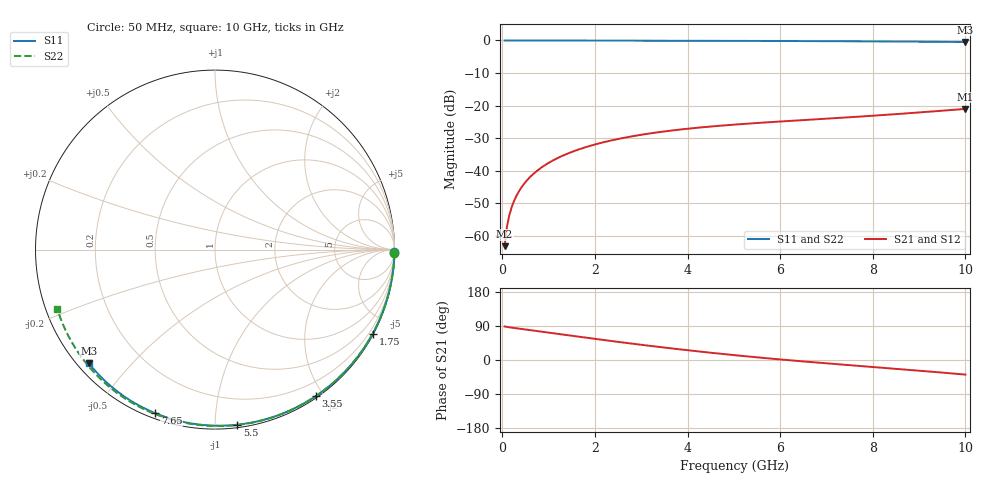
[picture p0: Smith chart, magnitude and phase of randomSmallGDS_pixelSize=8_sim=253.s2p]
! freq	dB(S11)	phase(S11)	dB(S12)	phase(S12)
!  dB(S21)	phase(S21)	dB(S22)	phase(S22)
!S-par simulation data
#  GHz  S  DB  R 50
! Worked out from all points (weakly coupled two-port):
!   200 points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, 50 MHz to 10 GHz, reference 50 ohm
!   highest |S21| = -21.04 dB at 10 GHz (marker M1); lowest = -63.2 dB at 50 MHz (marker M2)
!   lowest |S11| = -0.5 dB at 10 GHz (marker M3), VSWR 35.89, Z = 1.6 - j19.2 ohm
!   |S11| at or under -10 dB: nowhere
!   |S22| runs from -0.6 to 0.0 dB; largest |S21 - S12| = 0
!   S11 on the Smith chart (normalised r, x): 50 MHz: open; 1.75 GHz: 0.04, -4.01; 3.55 GHz: 0.02, -1.91; 5.5 GHz: 0.02, -1.14; 7.65 GHz: 0.02, -0.70; 10 GHz: 0.03, -0.38
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0.05  -0.00 -0.8  -63.24 88.5  -63.24 88.5  -0.00 -0.9
0.1  -0.00 -1.6  -57.29 87.2  -57.29 87.2  -0.00 -1.9
0.15  -0.00 -2.4  -53.83 86.3  -53.83 86.3  -0.00 -2.8
0.2  -0.00 -3.3  -51.38 85.4  -51.38 85.4  -0.00 -3.7
0.25  -0.00 -4.1  -49.48 84.7  -49.48 84.7  -0.00 -4.7
0.35  -0.00 -5.7  -46.60 83.1  -46.60 83.1  -0.00 -6.5
0.5  -0.01 -8.1  -43.54 80.7  -43.54 80.7  -0.01 -9.3
0.7  -0.01 -11.3  -40.66 77.4  -40.66 77.4  -0.01 -13.0
1  -0.02 -16.2  -37.64 72.4  -37.64 72.4  -0.02 -18.5
1.35  -0.03 -21.7  -35.13 66.5  -35.13 66.5  -0.03 -24.9
1.75  -0.04 -28.0  -33.03 59.9  -33.03 59.9  -0.04 -32.1
2.5  -0.05 -39.6  -30.29 47.9  -30.29 47.9  -0.06 -45.4
3.4  -0.08 -53.2  -28.15 34.3  -28.15 34.3  -0.09 -60.7
3.55  -0.08 -55.4  -27.87 32.1  -27.87 32.1  -0.09 -63.2
4.3  -0.10 -66.2  -26.71 21.8  -26.71 21.8  -0.11 -75.5
5.05  -0.13 -76.6  -25.83 12.3  -25.83 12.3  -0.14 -87.3
5.5  -0.14 -82.7  -25.38 7.0  -25.38 7.0  -0.16 -94.2
6.7  -0.20 -98.3  -24.31 -5.8  -24.31 -5.8  -0.23 -112.1
7.65  -0.26 -110.1  -23.47 -15.1  -23.47 -15.1  -0.30 -125.7
8.35  -0.31 -118.6  -22.80 -21.8  -22.80 -21.8  -0.36 -135.7
9.2  -0.39 -128.6  -21.92 -30.2  -21.92 -30.2  -0.45 -147.8
10  -0.48 -138.0  -21.04 -38.5  -21.04 -38.5  -0.55 -159.5
